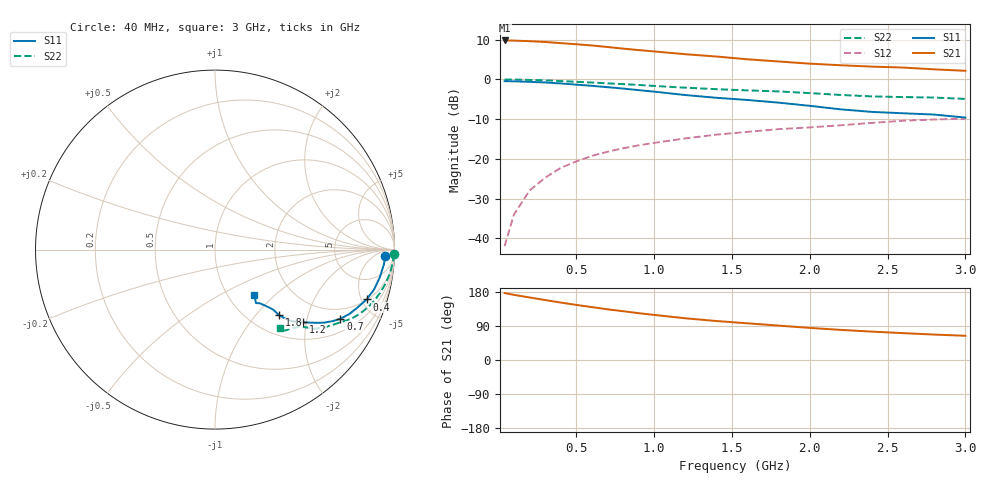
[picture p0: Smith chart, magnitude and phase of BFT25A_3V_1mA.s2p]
! Filename:  BFT25AI.S2P  Version:  2.0
! Philips part #: BFT25A  Date: Aug 1990
! Bias condition: Vce=3V, Ic=1mA
#  MHz  S  MA  R  50
! Freq  S11  S21  S12  S22  !GUM [dB]
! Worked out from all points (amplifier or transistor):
!   21 points, 40 MHz to 3 GHz, reference 50 ohm
!   highest |S21| = 9.8 dB at 40 MHz (marker M1)
!   |S21| within 3 dB of that: start of sweep to 1.069 GHz
!   unconditionally stable (mu >= 1): 2.211 GHz to end of sweep
!   at 300 MHz: K = 0.21, MSG = 17.1 dB, |S12| = -24.7 dB
!   at 1 GHz: K = 0.60, MSG = 11.5 dB, |S12| = -16.0 dB
!   at 3 GHz: K = 1.09, MAG = 4.2 dB, |S12| = -9.9 dB
!   S11 on the Smith chart (normalised r, x): 40 MHz: 26, -18; 400 MHz: 2.07, -5.48; 700 MHz: 1.52, -3.22; 1.2 GHz: 1.40, -1.91; 1.8 GHz: 1.35, -1.33; 3 GHz: 1.31, -0.74
40  0.95 -2.1  3.086 176.6  0.008 83.9  0.997 -1.5
100  0.945 -4.9  3.073 171.9  0.02 85.2  0.994 -3.8
200  0.931 -9.6  3.021 165.1  0.04 83.4  0.984 -7.6
300  0.914 -14.0  2.953 158.2  0.058 80.5  0.97 -11.1
400  0.889 -18.2  2.858 151.6  0.077 77.5  0.952 -14.5
500  0.859 -21.9  2.766 145.4  0.093 75.4  0.933 -17.6
600  0.83 -25.6  2.669 139.6  0.109 73.4  0.913 -20.4
700  0.798 -28.9  2.554 133.8  0.123 71.5  0.892 -22.8
800  0.767 -31.3  2.438 128.8  0.136 69.5  0.872 -24.9
900  0.733 -33.7  2.336 123.6  0.148 68.1  0.851 -26.9
1000  0.701 -35.6  2.247 119.0  0.159 66.8  0.828 -28.6
1200  0.636 -39.6  2.072 110.1  0.181 63.9  0.786 -31.9
1400  0.587 -42.9  1.939 102.9  0.202 62.4  0.753 -35.0
1600  0.551 -44.4  1.789 96.8  0.219 60.8  0.727 -37.0
1800  0.51 -45.7  1.679 90.8  0.237 59.5  0.706 -38.8
2000  0.465 -45.9  1.577 84.7  0.249 57.4  0.672 -40.2
2200  0.42 -48.1  1.505 79.4  0.265 56.0  0.637 -42.5
2400  0.39 -50.1  1.447 74.9  0.284 54.5  0.611 -45.7
2600  0.375 -52.6  1.408 70.9  0.302 53.2  0.599 -48.6
2800  0.361 -51.4  1.337 67.1  0.313 52.6  0.591 -49.7
3000  0.331 -49.3  1.282 63.9  0.321 52.0  0.568 -50.4
